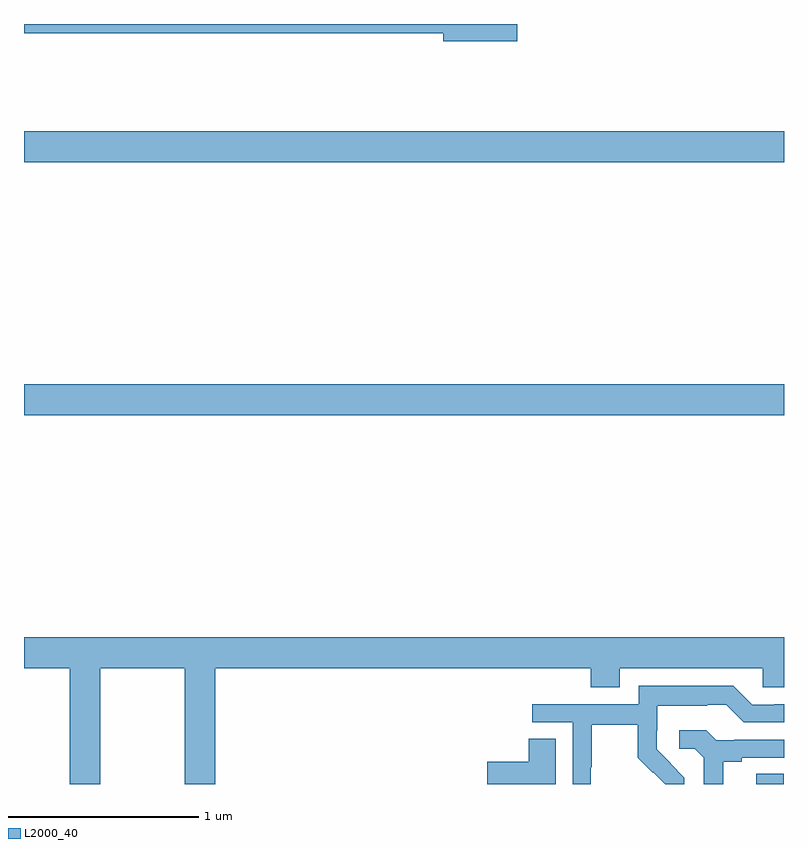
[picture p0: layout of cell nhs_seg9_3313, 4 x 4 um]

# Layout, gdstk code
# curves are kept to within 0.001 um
import gdstk
lib = gdstk.Library(unit=1e-6, precision=1e-09)
def R(c, l, rs):  # rectangles x0, y0, x1, y1
    for r in rs: c.add(gdstk.rectangle(r[:2], r[2:], *l))
def P(c, l, *ps):  # polygons
    for p in ps: c.add(gdstk.Polygon(p, *l))
L2000_40 = (2000, 40)

nhs_seg9_3313 = lib.new_cell('nhs_seg9_3313')
R(nhs_seg9_3313, L2000_40, [(304.853,1174.5,304.998,1174.553), (301,1176.44,305,1176.604), (301,1177.772,305,1177.936)])
P(nhs_seg9_3313, L2000_40, [(303.595,1178.5),(301,1178.5),(301,1178.452),(303.206,1178.452),(303.206,1178.41),(303.595,1178.41)],
  [(301.401,1175.108),(301.846,1175.108),(301.846,1174.5),(302.006,1174.5),(302.006,1175.108),(303.983,1175.108),(303.983,1175.009),(304.135,1175.009),(304.135,1175.108),(304.887,1175.108),(304.887,1175.01),(305,1175.01),(305,1175.272),(301,1175.272),(301,1175.108),(301.241,1175.108),(301.241,1174.5),(301.401,1174.5)],
  [(303.984,1174.588),(303.987,1174.588),(303.987,1174.812),(304.231,1174.812),(304.231,1174.637),(304.308,1174.56),(304.311,1174.563),(304.375,1174.5),(304.476,1174.5),(304.476,1174.534),(304.33,1174.682),(304.33,1174.779),(304.332,1174.779),(304.332,1174.913),(304.595,1174.913),(304.595,1174.917),(304.695,1174.917),(304.788,1174.824),(305,1174.824),(305,1174.92),(304.949,1174.92),(304.949,1174.917),(304.833,1174.917),(304.733,1175.017),(304.236,1175.017),(304.236,1174.92),(303.675,1174.92),(303.675,1174.824),(303.888,1174.824),(303.888,1174.5),(303.984,1174.5)],
  [(304.681,1174.616),(304.777,1174.616),(304.777,1174.638),(305,1174.638),(305,1174.734),(304.738,1174.734),(304.738,1174.731),(304.644,1174.731),(304.592,1174.783),(304.449,1174.783),(304.449,1174.686),(304.53,1174.686),(304.577,1174.639),(304.577,1174.5),(304.681,1174.5)],
  [(303.799,1174.739),(303.656,1174.739),(303.656,1174.616),(303.438,1174.616),(303.438,1174.5),(303.799,1174.5)])

lib.write_gds('nhs_seg9_3313.gds')
